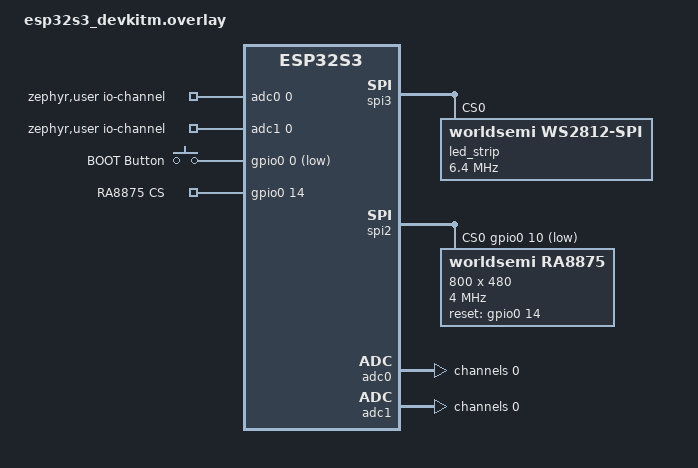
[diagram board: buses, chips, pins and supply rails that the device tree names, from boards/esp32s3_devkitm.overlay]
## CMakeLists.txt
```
# SPDX-License-Identifier: Apache-2.0

cmake_minimum_required(VERSION 3.20.0)

find_package(Zephyr REQUIRED HINTS $ENV{ZEPHYR_BASE})
project(zephyr_esp32)

include_directories(include)
FILE(GLOB app_sources src/*.c)
FILE(GLOB ra8875 src/ra8875/*.c)
message("app_sources: ${app_sources}")
target_sources(app PRIVATE ${app_sources} ${ra8875})
target_include_directories(app PRIVATE ${CMAKE_CURRENT_LIST_DIR}/src/ra8875)
```

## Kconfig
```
# Copyright (c) 2019 Nordic Semiconductor ASA
# SPDX-License-Identifier: Apache-2.0

# Use the SPI driver by default, unless the GPIO driver is
# specifically configured in.
config SPI
	default y

source "Kconfig.zephyr"

# menu "Bluetooth"
# 	depends on HAS_BLUETOOTH
# 	source $ZEPHYR_BASE/subsys/bluetooth/controller/Kconfig
#     source $ZEPHYR_BASE/subsys/bluetooth/Kconfig
# endmenu

config ESP32_TEMP
	bool "ESP32 Temperature Sensor"
	default y
	depends on DT_HAS_ESPRESSIF_ESP32_TEMP_ENABLED
	depends on !SOC_SERIES_ESP32
	help
	  Enable driver for temperature sensor on certain ESP targets.
```

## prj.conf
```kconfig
# Increased stack due to settings API usage
CONFIG_SYSTEM_WORKQUEUE_STACK_SIZE=2048

CONFIG_LOG=y
CONFIG_LED_STRIP=y
CONFIG_LED_STRIP_LOG_LEVEL_DBG=y
CONFIG_WS2812_STRIP=y

CONFIG_BT=y
CONFIG_BT_SMP=y
CONFIG_BT_PERIPHERAL=y
CONFIG_BT_DIS=y
CONFIG_BT_DIS_PNP=n
CONFIG_BT_BAS=y
CONFIG_BT_HRS=y
CONFIG_BT_DEVICE_NAME="Zephyr ESP32S3DEV"
CONFIG_BT_DEVICE_APPEARANCE=833


CONFIG_BT_KEYS_OVERWRITE_OLDEST=y
CONFIG_BT_SETTINGS=y
CONFIG_BT_FILTER_ACCEPT_LIST=y
CONFIG_FLASH=y
CONFIG_FLASH_PAGE_LAYOUT=y
CONFIG_FLASH_MAP=y
CONFIG_NVS=y
CONFIG_SETTINGS=y
CONFIG_REBOOT=y

CONFIG_ADC=y
CONFIG_SPI=y
```

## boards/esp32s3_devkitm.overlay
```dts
/*
 * Copyright (c) 2022 Espressif Systems (Shanghai) Co., Ltd.
 *
 * SPDX-License-Identifier: Apache-2.0
 */

#include <zephyr/dt-bindings/led/led.h>

&spi3 {
	/* Workaround to support WS2812 driver */
	line-idle-low;

	led_strip: ws2812@0 {
			compatible = "worldsemi,ws2812-spi";

			/* SPI */
			reg = <0>; /* ignored, but necessary for SPI bindings */
			spi-max-frequency = <6400000>;

			/* WS2812 */
			chain-length = <1>; /* arbitrary; change at will */
			spi-cpha;
			spi-one-frame = <0xf0>; /* 11110000: 625 ns high and 625 ns low */
			spi-zero-frame = <0xc0>; /* 11000000: 312.5 ns high and 937.5 ns low */
			color-mapping = <LED_COLOR_ID_GREEN
								LED_COLOR_ID_RED
								LED_COLOR_ID_BLUE>;
	};
};

&spi2 {
	status = "okay";
	compatible = "espressif,esp32-spi";
	pinctrl-0 = <&spim2_default>;

	pinctrl-names = "default";
	cs-gpios = <&gpio0 10 GPIO_ACTIVE_LOW>;


	ra8875: ra8875@0 {
		compatible = "worldsemi,ra8875";
		status = "okay";
        spi-max-frequency = <4000000>;
        reg = <0>;
        width = <800>;
        height = <480>;
		rotation = <0>;
        // bl-gpios = <&gpio1 6 GPIO_ACTIVE_HIGH>;
        reset-gpios = <&gpio0 14 GPIO_ACTIVE_HIGH>;
        // dc-gpios = <&gpio0 7 GPIO_ACTIVE_HIGH>;
	};
};

&pinctrl {
	spim3_default: spim3_default {
		group2 {
			pinmux = <SPIM3_MOSI_GPIO48>;
		};
	};
};

/ {     
        zephyr,user {
        io-channels =
                <&adc0 0>,
                <&adc1 0>;
        };

        aliases {
                led-strip = &led_strip;
				ra8875-rs = &ra8875_rs;
        };

		buttons {
			compatible = "gpio-keys";
			status = "okay";
			button0: button_0 {
				gpios = <&gpio0 0 (GPIO_PULL_UP | GPIO_ACTIVE_LOW)>;
				label = "BOOT Button";
				zephyr,code = <INPUT_KEY_0>;
			};
		};

		gpio_keys {
			compatible = "gpio-keys";
			status = "okay";
			ra8875_rs: ra8875_14 {
				gpios = <&gpio0 14 (GPIO_PULL_UP | GPIO_ACTIVE_HIGH)>;
				label = "RA8875 CS";
			};
		};
};

&adc0 {
	status = "okay";
	#address-cells = <1>;
	#size-cells = <0>;

	channel@0 {
		reg = <0>;
		zephyr,gain = "ADC_GAIN_1_4";
		zephyr,reference = "ADC_REF_INTERNAL";
		zephyr,acquisition-time = <ADC_ACQ_TIME_DEFAULT>;
		zephyr,resolution = <12>;
	};
};

&adc1 {
	status = "okay";
	#address-cells = <1>;
	#size-cells = <0>;

	channel@0 {
		reg = <0>;
		zephyr,gain = "ADC_GAIN_1_4";
		zephyr,reference = "ADC_REF_INTERNAL";
		zephyr,acquisition-time = <ADC_ACQ_TIME_DEFAULT>;
		zephyr,resolution = <12>;
	};
};
```

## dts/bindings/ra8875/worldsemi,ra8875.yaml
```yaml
description: RA8875 display controller

compatible: "worldsemi,ra8875"
# If the node describes bus hardware, like an SPI bus controller
# on an SoC, use 'bus:' to say which one, like this:
include: [spi-device.yaml]
bus: spi
properties:
    reset-gpios:
      type: phandle-array
      required: true
      description: RESET pin.
        The RESET pin of RA8875 is active low.
        If connected directly the MCU pin should be configured
        as active low.
    spi-max-frequency:
      type: int
    width:
      type: int
    height:
      type: int
    rotation:
      type: int
on-bus: spi
```

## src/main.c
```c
/*
 * Copyright (c) 2017 Linaro Limited
 * Copyright (c) 2018 Intel Corporation
 *
 * SPDX-License-Identifier: Apache-2.0
 */

#include <errno.h>
#include <string.h>

#define LOG_LEVEL 4
#include <zephyr/logging/log.h>
LOG_MODULE_REGISTER(main);


#include <errno.h>
#include <stddef.h>
#include <string.h>

#include <zephyr/device.h>
#include <zephyr/devicetree.h>
#include <zephyr/drivers/adc.h>
#include <zephyr/kernel.h>
#include <zephyr/sys/printk.h>
#include <zephyr/sys/util.h>

#include "led_strip.h"
#include "bluetooth_adv.h"
#include "adc.h"
#include "RA8875.h"

#define DELAY_TIME K_MSEC(100)


static RA8875_struct ra8875;

int	main(void)
{
	// int	err;
	int	counter;

	led_strip_init();
	bluetooth_init(); // Call the bluetooth_init() function
	adc_init();

	RA8875_begin(&ra8875, RA8875_800x480, 16);


	counter = 0;
	/* Implement notification. At the moment there is no suitable way
		* of starting delayed work so we do it here
		*/
	while (1)
	{

	
		counter++;
		if (counter % 500)
		{
			counter = 0;
			
			led_strip_demo();
			// adc_demo();
			// esp_adc_read(1);
		}



		
		/* Heartrate measurements simulation */
		hrs_notify();
		/* Battery level simulation */
		bas_notify();

		

		k_sleep(DELAY_TIME);
	}
	return (0);
}
```

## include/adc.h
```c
#pragma once

#include <zephyr/drivers/adc.h>

int adc_init();
int esp_adc_read(int i);
```

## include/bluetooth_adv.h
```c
#pragma once

#include <errno.h>
#include <stddef.h>
#include <string.h>
#include <zephyr/bluetooth/bluetooth.h>
#include <zephyr/bluetooth/conn.h>
#include <zephyr/bluetooth/gatt.h>
#include <zephyr/bluetooth/hci.h>
#include <zephyr/bluetooth/services/bas.h>
#include <zephyr/bluetooth/services/hrs.h>
#include <zephyr/bluetooth/uuid.h>
#include <zephyr/kernel.h>
#include <zephyr/sys/byteorder.h>
#include <zephyr/sys/printk.h>
#include <zephyr/sys/util.h>
#include <zephyr/types.h>
#include <zephyr/settings/settings.h>
#include <zephyr/sys/reboot.h>
void bluetooth_init();
void bluetooth_mess();
void bas_notify();
void hrs_notify();
void tank_notify();
```

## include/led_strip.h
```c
#pragma once

#define STRIP_NODE		DT_ALIAS(led_strip)
#define STRIP_NUM_PIXELS	DT_PROP(DT_ALIAS(led_strip), chain_length)
#define RGB(_r, _g, _b) { .r = (_r), .g = (_g), .b = (_b) }

int led_strip_init();
void led_strip_demo();
```

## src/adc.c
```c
#include "adc.h"

#if !DT_NODE_EXISTS(DT_PATH(zephyr_user)) || \
	!DT_NODE_HAS_PROP(DT_PATH(zephyr_user), io_channels)
#error "No suitable devicetree overlay specified"
#endif

#define DT_SPEC_AND_COMMA(node_id, prop, idx) \
	ADC_DT_SPEC_GET_BY_IDX(node_id, idx),

/* Data of ADC io-channels specified in devicetree. */
static const struct adc_dt_spec adc_channels[] = {
	DT_FOREACH_PROP_ELEM(DT_PATH(zephyr_user), io_channels,
			     DT_SPEC_AND_COMMA)
};

int adc_init(){
	int err;
	uint32_t count = 0;
	uint16_t buf;
	struct adc_sequence sequence = {
		.buffer = &buf,
		/* buffer size in bytes, not number of samples */
		.buffer_size = sizeof(buf),
	};

	printk("size adc_channels: %d\n", ARRAY_SIZE(adc_channels));
	/* Configure channels individually prior to sampling. */
	for (size_t i = 0U; i < ARRAY_SIZE(adc_channels); i++) {
		if (!adc_is_ready_dt(&adc_channels[i])) {
			printk("ADC controller device %s not ready\n", adc_channels[i].dev->name);
			return 0;
		}

		err = adc_channel_setup_dt(&adc_channels[i]);
		if (err < 0) {
			printk("Could not setup channel #%d (%d)\n", i, err);
			return 0;
		}
	}

    return 0;

}

int esp_adc_read(int i){
	int err;
	uint32_t count = 0;
	uint16_t buf;
	struct adc_sequence sequence = {
		.buffer = &buf,
		/* buffer size in bytes, not number of samples */
		.buffer_size = sizeof(buf),
	};

	int32_t val_mv;

	printk("- %s, channel %d: ",
			adc_channels[i].dev->name,
			adc_channels[i].channel_id);

	(void)adc_sequence_init_dt(&adc_channels[i], &sequence);

	err = adc_read_dt(&adc_channels[i], &sequence);
	if (err < 0) {
		printk("Could not read (%d)\n", err);
		return 0;
	}

	/*
	* If using differential mode, the 16 bit value
	* in the ADC sample buffer should be a signed 2's
	* complement value.
	*/
	if (adc_channels[i].channel_cfg.differential) {
		val_mv = (int32_t)((int16_t)buf);
	} else {
		val_mv = (int32_t)buf;
	}
	printk("%"PRId32, val_mv);
	err = adc_raw_to_millivolts_dt(&adc_channels[i],
						&val_mv);
	/* conversion to mV may not be supported, skip if not */
	if (err < 0) {
		printk(" (value in mV not available)\n");
	} else {
		printk(" = %"PRId32" mV\n", val_mv);
	}
    return val_mv;
}
```

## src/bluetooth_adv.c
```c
#include "bluetooth_adv.h"
#include "adc.h"
static int count = 0;
/* Custom Service Variables */
#define BT_UUID_CUSTOM_SERVICE_VAL \
	BT_UUID_128_ENCODE(0x12345678, 0x1234, 0x5678, 0x1234, 0x56789abcdef0)

static struct bt_uuid_128 primary_service_uuid = BT_UUID_INIT_128(
	BT_UUID_CUSTOM_SERVICE_VAL);

static struct bt_uuid_128 read_charac_uuid = BT_UUID_INIT_128(
	BT_UUID_128_ENCODE(0x12345678, 0x1234, 0x5678, 0x1234, 0x56789abcdef1));

static struct bt_uuid_128 write_charac_uuid = BT_UUID_INIT_128(
	BT_UUID_128_ENCODE(0x12345678, 0x1234, 0x5678, 0x1234, 0x56789abcdef2));

static struct bt_uuid_128 custom_charac_uuid = BT_UUID_INIT_128(
	BT_UUID_128_ENCODE(0x12345678, 0x1234, 0x5678, 0x1234, 0x56789abcdef3));



/* Zeder Custom Service Variables */
#define BT_UUID_ZEDER_SERVICE_VAL \
	BT_UUID_128_ENCODE(0x02011995, 0x0201, 0x1995, 0x2808, 0xb92a4f188fd0)

static struct bt_uuid_128 zproject_service_uuid = BT_UUID_INIT_128(
	BT_UUID_ZEDER_SERVICE_VAL);


static struct bt_uuid_128 zproject_read_charac_uuid = BT_UUID_INIT_128(
	BT_UUID_128_ENCODE(0x02011995, 0x0201, 0x1995, 0x2808, 0xb92a4f188fd1));
static struct bt_uuid_128 zproject_write_charac_uuid = BT_UUID_INIT_128(
	BT_UUID_128_ENCODE(0x02011995, 0x0201, 0x1995, 0x2808, 0xb92a4f188fd2));
static struct bt_uuid_128 zproject_notify_charac_uuid = BT_UUID_INIT_128(
	BT_UUID_128_ENCODE(0x02011995, 0x0201, 0x1995, 0x2808, 0xb92a4f188fd3));
static struct bt_uuid_128 zproject_indicate_charac_uuid = BT_UUID_INIT_128(
	BT_UUID_128_ENCODE(0x02011995, 0x0201, 0x1995, 0x2808, 0xb92a4f188fd4));

static int signed_value;
static struct bt_le_adv_param adv_param;
static int bond_count;

static ssize_t read_signed(struct bt_conn *conn, const struct bt_gatt_attr *attr,
			   void *buf, uint16_t len, uint16_t offset)
{
	int *value = &signed_value;
	count++;
	*value = count;

	int adc_val = esp_adc_read(1);
	*value = adc_val;
	printk("Reading signed value\n,value: %d, offset: %d, len: %d\n",*value, offset, len);

	return bt_gatt_attr_read(conn, attr, buf, len, offset, value,
				 sizeof(signed_value));
}

static ssize_t write_signed(struct bt_conn *conn, const struct bt_gatt_attr *attr,
			    const void *buf, uint16_t len, uint16_t offset,
			    uint8_t flags)
{
	int *value = &signed_value;

	if (offset + len > sizeof(signed_value)) {
		return BT_GATT_ERR(BT_ATT_ERR_INVALID_OFFSET);
	}
	
	memcpy(value + offset, buf, len);
	printk("Writing signed value. Value: %d\n",*value);
	return len;	
}

/* Vendor Primary Service Declaration */
BT_GATT_SERVICE_DEFINE(primary_service,
	BT_GATT_PRIMARY_SERVICE(&primary_service_uuid),
	BT_GATT_CHARACTERISTIC(&read_charac_uuid.uuid,
			       BT_GATT_CHRC_READ,
			       BT_GATT_PERM_READ,
			       read_signed, NULL, NULL),
	BT_GATT_CHARACTERISTIC(&write_charac_uuid.uuid,
			       BT_GATT_CHRC_WRITE,
			       BT_GATT_PERM_WRITE_ENCRYPT,
			       NULL, write_signed, NULL),
	BT_GATT_CHARACTERISTIC(&custom_charac_uuid.uuid,
					BT_GATT_CHRC_READ,
					BT_GATT_PERM_READ,
					read_signed,NULL,NULL),
);

BT_GATT_SERVICE_DEFINE(zproject_service,
	BT_GATT_PRIMARY_SERVICE(&zproject_service_uuid),
	BT_GATT_CHARACTERISTIC(&zproject_read_charac_uuid.uuid,
			       BT_GATT_CHRC_READ,
			       BT_GATT_PERM_READ,
			       read_signed, NULL, NULL),
	BT_GATT_CHARACTERISTIC(&zproject_write_charac_uuid.uuid,
			       BT_GATT_CHRC_WRITE,
			       BT_GATT_PERM_WRITE_ENCRYPT,
			       NULL, write_signed, NULL),
	BT_GATT_CHARACTERISTIC(&zproject_notify_charac_uuid.uuid,
			       BT_GATT_CHRC_NOTIFY,
			       BT_GATT_PERM_WRITE_ENCRYPT,
			       NULL, write_signed, NULL),
	BT_GATT_CHARACTERISTIC(&zproject_indicate_charac_uuid.uuid,
			       BT_GATT_CHRC_INDICATE,
			       BT_GATT_PERM_WRITE_ENCRYPT,
			       NULL, write_signed, NULL),
);

static const struct bt_data sd[] = {
	BT_DATA_BYTES(BT_DATA_UUID128_ALL, BT_UUID_CUSTOM_SERVICE_VAL)
};
static const struct bt_data		advertise_data[] = {BT_DATA_BYTES(BT_DATA_FLAGS,
			(BT_LE_AD_GENERAL | BT_LE_AD_NO_BREDR)),
			BT_DATA_BYTES(BT_DATA_UUID16_ALL,
			BT_UUID_16_ENCODE(BT_UUID_HRS_VAL),
			BT_UUID_16_ENCODE(BT_UUID_BAS_VAL),
			BT_UUID_16_ENCODE(BT_UUID_DIS_VAL))};

static void	connected(struct bt_conn *conn, uint8_t err)
{
	if (err)
	{
		printk("Connection failed (err 0x%02x)\n", err);
	}
	else
	{
		printk("Connected\n");
	}
}

static void	disconnected(struct bt_conn *conn, uint8_t reason)
{
	printk("Disconnected (reason 0x%02x)\n", reason);
}

BT_CONN_CB_DEFINE(conn_callbacks) = {
	.connected = connected,
	.disconnected = disconnected,

};

static void add_bonded_addr_to_filter_list(const struct bt_bond_info *info, void *data)
{
	char addr_str[BT_ADDR_LE_STR_LEN];

	bt_le_filter_accept_list_add(&info->addr);
	bt_addr_le_to_str(&info->addr, addr_str, sizeof(addr_str));
	printk("Added %s to advertising accept filter list\n", addr_str);
	bond_count++;
}

static void	bt_ready(void)
{
	int	err;

	printk("Bluetooth initialized\n");
	//Add
	if (IS_ENABLED(CONFIG_SETTINGS)) {
		settings_load();
	}

	bond_count = 0;
	
	bt_foreach_bond(BT_ID_DEFAULT, add_bonded_addr_to_filter_list, NULL);

	adv_param = *BT_LE_ADV_CONN_NAME;


	printk("Bond count: %d\n", bond_count);
	/* If we have got at least one bond, activate the filter */
	if (bond_count) {
		/* BT_LE_ADV_OPT_FILTER_CONN is required to activate accept filter list,
		 * BT_LE_ADV_OPT_FILTER_SCAN_REQ will prevent sending scan response data to
		 * devices, that are not on the accept filter list
		 */
		adv_param.options |= BT_LE_ADV_OPT_FILTER_CONN | BT_LE_ADV_OPT_FILTER_SCAN_REQ;
	}

	// Add the advertise data to the advertisement
	err = bt_le_adv_start(BT_LE_ADV_CONN_NAME, advertise_data, ARRAY_SIZE(advertise_data), NULL, 0);
	if (err)
	{
		printk("Advertising failed to start (err %d)\n", err);
		return ;
	}
	printk("Advertising successfully started\n");
}

static void	auth_cancel(struct bt_conn *conn)
{
	char	addr[BT_ADDR_LE_STR_LEN];

	bt_addr_le_to_str(bt_conn_get_dst(conn), addr, sizeof(addr));
	printk("Pairing cancelled: %s\n", addr);
}

static struct bt_conn_auth_cb	auth_cb_display = {
	.cancel = auth_cancel,
};


void pairing_complete(struct bt_conn *conn, bool bonded)
{
	printk("Pairing completed. Rebooting in 5 seconds...\n");

	k_sleep(K_SECONDS(5));
	sys_reboot(SYS_REBOOT_WARM);
}

static struct bt_conn_auth_info_cb bt_conn_auth_info = {
	.pairing_complete = pairing_complete
};
void bas_notify()
{
	uint8_t	battery_level;

	battery_level = bt_bas_get_battery_level();
	battery_level--;
	if (!battery_level)
	{
		battery_level = 100U;
	}
	// printk("Battery level: %d\n", battery_level);
	bt_bas_set_battery_level(battery_level);
}

void hrs_notify()
{
	static uint8_t	heartrate;

	heartrate = 90U;
	/* Heartrate measurements simulation */
	heartrate++;
	if (heartrate == 160U)
	{
		heartrate = 90U;
	}
	// printk("Heartrate: %d\n", heartrate);
	bt_hrs_notify(heartrate);
}

void bluetooth_init()
{
    int err;
    // Bluetooth initialization code
    err = bt_enable(NULL);
	if (err)
	{
		printk("Bluetooth init failed (err %d)\n", err);
		return;
	}
	bt_ready();
	bt_conn_auth_cb_register(&auth_cb_display);
	bt_conn_auth_info_cb_register(&bt_conn_auth_info);
}
void bluetooth_mess(){
	printk("Bluetooth ok\n");
}
```

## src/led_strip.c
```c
#include "led_strip.h"
#include <errno.h>
#include <string.h>

#define LOG_LEVEL 4
#include <zephyr/logging/log.h>
LOG_MODULE_REGISTER(led_strip);

#include <errno.h>
#include <stddef.h>
#include <string.h>
#include <zephyr/device.h>
#include <zephyr/drivers/led_strip.h>
#include <zephyr/drivers/spi.h>
#include <zephyr/kernel.h>
#include <zephyr/sys/byteorder.h>
#include <zephyr/sys/printk.h>
#include <zephyr/sys/util.h>
#include <zephyr/types.h>

#define LOG_LEVEL 4
#include <zephyr/logging/log.h>

static const struct led_rgb	colors[] = {
	RGB(0x0f, 0x00, 0x00), /* red */
	RGB(0x00, 0x0f, 0x00), /* green */
	RGB(0x00, 0x00, 0x0f), /* blue */
};

struct led_rgb				pixels[STRIP_NUM_PIXELS];

static const struct device *const strip = DEVICE_DT_GET(STRIP_NODE);

size_t						cursor = 0, color = 0;
int							rc;

int	led_strip_init(void)
{
	if (device_is_ready(strip))
	{
		LOG_INF("Found LED strip device %s", strip->name);
	}
	else
	{
		LOG_ERR("LED strip device %s is not ready", strip->name);
		return (0);
	}
	LOG_INF("Displaying pattern on strip");
	return (1);
}
void	led_strip_demo(void)
{
	memset(&pixels, 0x00, sizeof(pixels));
	memcpy(&pixels[cursor], &colors[color], sizeof(struct led_rgb));
	rc = led_strip_update_rgb(strip, pixels, STRIP_NUM_PIXELS);

	if (rc)
	{
		LOG_ERR("couldn't update strip: %d", rc);
	}

	cursor++;
	if (cursor >= STRIP_NUM_PIXELS)
	{
		cursor = 0;
		color++;
		if (color == ARRAY_SIZE(colors))
		{
			color = 0;
		}
	}
}
```
